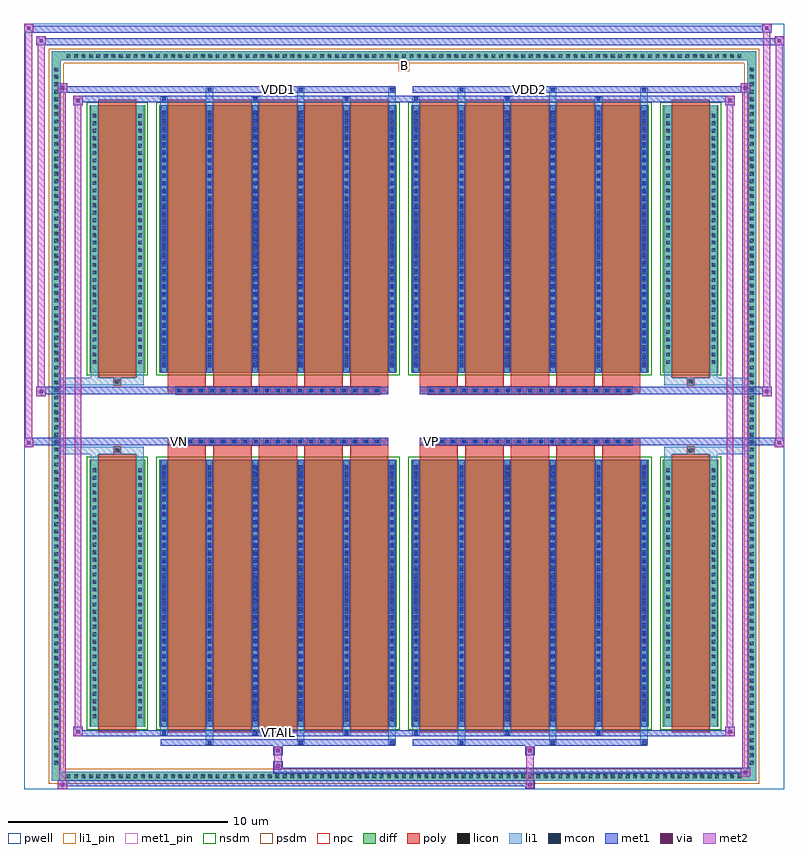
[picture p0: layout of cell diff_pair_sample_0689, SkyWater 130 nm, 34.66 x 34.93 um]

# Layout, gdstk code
import gdstk
lib = gdstk.Library(unit=1e-6, precision=5e-09)
def R(c, l, rs):  # rectangles x0, y0, x1, y1
    for r in rs: c.add(gdstk.rectangle(r[:2], r[2:], *l))
def A(c, l, x, y, w, h, nx, ny, dx, dy):  # array of equal rectangles
    R(c, l, [(x+i*dx, y+j*dy, x+i*dx+w, y+j*dy+h) for i in range(nx) for j in range(ny)])
def P(c, l, *ps):  # polygons
    for p in ps: c.add(gdstk.Polygon(p, *l))
pwell = (64, 44)
diff = (65, 20)
poly = (66, 20)
licon = (66, 44)
li1_pin = (67, 16)
li1 = (67, 20)
mcon = (67, 44)
met1_pin = (68, 16)
met1 = (68, 20)
via = (68, 44)
met2 = (69, 20)
nsdm = (93, 44)
psdm = (94, 20)
npc = (95, 20)

diff_pair_sample_0689 = lib.new_cell('diff_pair_sample_0689')
R(diff_pair_sample_0689, pwell, [(-17.33,-17.03,17.33,17.9), (-14.65,-15.22,-0.01,-0.8), (0.01,-15.22,14.65,-0.8), (-14.65,0.8,-0.01,15.22), (0.01,0.8,14.65,15.22)])
A(diff_pair_sample_0689, diff, -15.505, -16.63, 0.41, 0.41, 91, 2, 0.34, 32.85)
A(diff_pair_sample_0689, diff, -16.06, -16.015, 0.41, 0.41, 1, 94, 0, 0.34)
A(diff_pair_sample_0689, diff, 15.65, -16.015, 0.41, 0.41, 1, 94, 0, 0.34)
R(diff_pair_sample_0689, diff, [(-15.505,-16.63,15.505,-16.22), (-16.06,-16.015,-15.65,16.015), (15.65,-16.015,16.06,16.015), (-14.34,-14.175,-11.81,-1.985), (-11.17,-14.175,-0.32,-1.985), (0.32,-14.175,11.17,-1.985), (11.81,-14.175,14.34,-1.985), (-14.34,1.985,-11.81,14.175), (-11.17,1.985,-0.32,14.175), (0.32,1.985,11.17,14.175), (11.81,1.985,14.34,14.175), (-15.505,16.22,15.505,16.63)])
P(diff_pair_sample_0689, diff, [(16.06,16.63),(-16.06,16.63),(-16.06,-16.22),(-15.65,-16.22),(-15.65,16.22),(15.65,16.22),(15.65,-16.22),(-15.65,-16.22),(-16.06,-16.22),(-16.06,-16.63),(16.06,-16.63)])
A(diff_pair_sample_0689, poly, -10.78, -14.425, 1.75, 12.69, 5, 2, 2.08, 16.16)
A(diff_pair_sample_0689, poly, 0.71, -14.425, 1.75, 12.69, 5, 2, 2.08, 16.16)
A(diff_pair_sample_0689, poly, -10.78, -1.735, 1.75, 0.405, 5, 2, 2.08, 3.065)
A(diff_pair_sample_0689, poly, 0.71, -1.735, 1.75, 0.405, 5, 2, 2.08, 3.065)
A(diff_pair_sample_0689, poly, -10.41, -1.33, 0.33, 0.33, 19, 2, 0.5, 2.33)
A(diff_pair_sample_0689, poly, 1.08, -1.33, 0.33, 0.33, 19, 2, 0.5, 2.33)
R(diff_pair_sample_0689, poly, [(-13.95,-14.425,-12.2,-1.735), (12.2,-14.425,13.95,-1.735), (-13.24,-1.735,-12.91,-1.405), (-13.24,-1.735,-12.91,-1.405), (12.91,-1.735,13.24,-1.405), (12.91,-1.735,13.24,-1.405), (-10.78,-1.33,-0.71,-1), (0.71,-1.33,10.78,-1), (-10.78,1,-0.71,1.33), (0.71,1,10.78,1.33), (-13.24,1.405,-12.91,1.735), (-13.24,1.405,-12.91,1.735), (12.91,1.405,13.24,1.735), (12.91,1.405,13.24,1.735), (-13.95,1.735,-12.2,14.425), (12.2,1.735,13.95,14.425)])
A(diff_pair_sample_0689, licon, -15.385, -16.51, 0.17, 0.17, 91, 2, 0.34, 32.85)
A(diff_pair_sample_0689, licon, -15.94, -15.895, 0.17, 0.17, 1, 94, 0, 0.34)
A(diff_pair_sample_0689, licon, 15.77, -15.895, 0.17, 0.17, 1, 94, 0, 0.34)
A(diff_pair_sample_0689, licon, -14.2, -13.775, 0.17, 0.17, 1, 34, 0, 0.34)
A(diff_pair_sample_0689, licon, -12.12, -13.775, 0.17, 0.17, 1, 34, 0, 0.34)
A(diff_pair_sample_0689, licon, -11.03, -13.775, 0.17, 0.17, 6, 34, 2.08, 0.34)
A(diff_pair_sample_0689, licon, 0.46, -13.775, 0.17, 0.17, 6, 34, 2.08, 0.34)
A(diff_pair_sample_0689, licon, 11.95, -13.775, 0.17, 0.17, 1, 34, 0, 0.34)
A(diff_pair_sample_0689, licon, 14.03, -13.775, 0.17, 0.17, 1, 34, 0, 0.34)
A(diff_pair_sample_0689, licon, -10.33, -1.25, 0.17, 0.17, 19, 2, 0.5, 2.33)
A(diff_pair_sample_0689, licon, 1.16, -1.25, 0.17, 0.17, 19, 2, 0.5, 2.33)
A(diff_pair_sample_0689, licon, -14.2, 2.385, 0.17, 0.17, 1, 34, 0, 0.34)
A(diff_pair_sample_0689, licon, -12.12, 2.385, 0.17, 0.17, 1, 34, 0, 0.34)
A(diff_pair_sample_0689, licon, -11.03, 2.385, 0.17, 0.17, 6, 34, 2.08, 0.34)
A(diff_pair_sample_0689, licon, 0.46, 2.385, 0.17, 0.17, 6, 34, 2.08, 0.34)
A(diff_pair_sample_0689, licon, 11.95, 2.385, 0.17, 0.17, 1, 34, 0, 0.34)
A(diff_pair_sample_0689, licon, 14.03, 2.385, 0.17, 0.17, 1, 34, 0, 0.34)
R(diff_pair_sample_0689, licon, [(-13.16,-1.655,-12.99,-1.485), (12.99,-1.655,13.16,-1.485), (-13.16,1.485,-12.99,1.655), (12.99,1.485,13.16,1.655)])
R(diff_pair_sample_0689, li1_pin, [(-0.25,15.72,0.25,16.22)])
A(diff_pair_sample_0689, li1, -15.465, -16.59, 0.33, 0.33, 91, 2, 0.34, 32.85)
A(diff_pair_sample_0689, li1, -16.02, -15.975, 0.33, 0.33, 1, 94, 0, 0.34)
A(diff_pair_sample_0689, li1, 15.69, -15.975, 0.33, 0.33, 1, 94, 0, 0.34)
A(diff_pair_sample_0689, li1, -9.03, -14.98, 0.33, 0.805, 3, 2, 4.16, 29.155)
A(diff_pair_sample_0689, li1, -8.95, -14.98, 0.17, 0.17, 3, 2, 4.16, 29.79)
A(diff_pair_sample_0689, li1, 2.46, -14.98, 0.33, 0.805, 3, 2, 4.16, 29.155)
A(diff_pair_sample_0689, li1, 2.54, -14.98, 0.17, 0.17, 3, 2, 4.16, 29.79)
A(diff_pair_sample_0689, li1, -11.11, -14.55, 0.33, 0.375, 3, 2, 4.16, 28.725)
A(diff_pair_sample_0689, li1, -11.03, -14.55, 0.17, 0.17, 3, 2, 4.16, 28.93)
A(diff_pair_sample_0689, li1, 0.38, -14.55, 0.33, 0.375, 3, 2, 4.16, 28.725)
A(diff_pair_sample_0689, li1, 0.46, -14.55, 0.17, 0.17, 3, 2, 4.16, 28.93)
A(diff_pair_sample_0689, li1, -11.11, -14.175, 0.33, 12.19, 6, 2, 2.08, 16.16)
A(diff_pair_sample_0689, li1, 0.38, -14.175, 0.33, 12.19, 6, 2, 2.08, 16.16)
A(diff_pair_sample_0689, li1, -11.03, -13.925, 0.17, 0.17, 6, 33, 2.08, 0.36)
A(diff_pair_sample_0689, li1, -11.03, -13.925, 0.17, 11.69, 6, 2, 2.08, 16.16)
A(diff_pair_sample_0689, li1, 0.46, -13.925, 0.17, 0.17, 6, 33, 2.08, 0.36)
A(diff_pair_sample_0689, li1, 0.46, -13.925, 0.17, 11.69, 6, 2, 2.08, 16.16)
A(diff_pair_sample_0689, li1, -14.28, -13.855, 0.33, 0.33, 1, 34, 0, 0.34)
A(diff_pair_sample_0689, li1, -12.2, -13.855, 0.33, 0.33, 1, 34, 0, 0.34)
A(diff_pair_sample_0689, li1, -11.11, -13.855, 0.33, 0.33, 6, 34, 2.08, 0.34)
A(diff_pair_sample_0689, li1, 0.38, -13.855, 0.33, 0.33, 6, 34, 2.08, 0.34)
A(diff_pair_sample_0689, li1, 11.87, -13.855, 0.33, 0.33, 1, 34, 0, 0.34)
A(diff_pair_sample_0689, li1, 13.95, -13.855, 0.33, 0.33, 1, 34, 0, 0.34)
A(diff_pair_sample_0689, li1, -10.41, -1.33, 0.33, 0.33, 19, 2, 0.5, 2.33)
A(diff_pair_sample_0689, li1, 1.08, -1.33, 0.33, 0.33, 19, 2, 0.5, 2.33)
A(diff_pair_sample_0689, li1, -11.03, 2.235, 0.17, 0.17, 6, 33, 2.08, 0.36)
A(diff_pair_sample_0689, li1, 0.46, 2.235, 0.17, 0.17, 6, 33, 2.08, 0.36)
A(diff_pair_sample_0689, li1, -14.28, 2.305, 0.33, 0.33, 1, 34, 0, 0.34)
A(diff_pair_sample_0689, li1, -12.2, 2.305, 0.33, 0.33, 1, 34, 0, 0.34)
A(diff_pair_sample_0689, li1, -11.11, 2.305, 0.33, 0.33, 6, 34, 2.08, 0.34)
A(diff_pair_sample_0689, li1, 0.38, 2.305, 0.33, 0.33, 6, 34, 2.08, 0.34)
A(diff_pair_sample_0689, li1, 11.87, 2.305, 0.33, 0.33, 1, 34, 0, 0.34)
A(diff_pair_sample_0689, li1, 13.95, 2.305, 0.33, 0.33, 1, 34, 0, 0.34)
R(diff_pair_sample_0689, li1, [(-16.06,-16.63,-15.65,-16.22), (-16.06,-16.63,-15.65,-16.22), (-15.65,-16.63,15.65,-16.22), (15.65,-16.63,16.06,-16.22), (15.65,-16.63,16.06,-16.22), (-16.06,-16.22,-15.65,16.22), (15.65,-16.22,16.06,16.22), (-14.28,-14.175,-13.95,-1.985), (-12.2,-14.175,-11.87,-1.985), (11.87,-14.175,12.2,-1.985), (13.95,-14.175,14.28,-1.985), (-14.28,-1.985,-13.95,-1.405), (-12.2,-1.985,-11.87,-1.405), (11.87,-1.985,12.2,-1.405), (13.95,-1.985,14.28,-1.405), (-16.06,-1.735,-13.24,-1.405), (-14.28,-1.735,-13.24,-1.405), (-13.24,-1.735,-12.91,-1.405), (-12.91,-1.735,-11.87,-1.405), (11.87,-1.735,12.91,-1.405), (12.91,-1.735,13.24,-1.405), (12.91,-1.735,16.06,-1.405), (13.24,-1.735,14.28,-1.405), (-16.06,1.405,-13.24,1.735), (-14.28,1.405,-13.24,1.735), (-14.28,1.405,-13.95,1.985), (-13.24,1.405,-12.91,1.735), (-12.91,1.405,-11.87,1.735), (-12.2,1.405,-11.87,1.985), (11.87,1.405,12.91,1.735), (11.87,1.405,12.2,1.985), (12.91,1.405,13.24,1.735), (12.91,1.405,16.06,1.735), (13.24,1.405,14.28,1.735), (13.95,1.405,14.28,1.985), (-14.28,1.985,-13.95,14.175), (-12.2,1.985,-11.87,14.175), (11.87,1.985,12.2,14.175), (13.95,1.985,14.28,14.175), (-16.06,16.22,-15.65,16.63), (-16.06,16.22,-15.65,16.63), (-15.65,16.22,15.65,16.63), (15.65,16.22,16.06,16.63), (15.65,16.22,16.06,16.63)])
A(diff_pair_sample_0689, mcon, -8.95, -14.98, 0.17, 0.17, 3, 2, 4.16, 29.79)
A(diff_pair_sample_0689, mcon, 2.54, -14.98, 0.17, 0.17, 3, 2, 4.16, 29.79)
A(diff_pair_sample_0689, mcon, -11.03, -14.55, 0.17, 0.17, 3, 2, 4.16, 28.93)
A(diff_pair_sample_0689, mcon, 0.46, -14.55, 0.17, 0.17, 3, 2, 4.16, 28.93)
A(diff_pair_sample_0689, mcon, -11.03, -13.925, 0.17, 0.17, 6, 33, 2.08, 0.36)
A(diff_pair_sample_0689, mcon, 0.46, -13.925, 0.17, 0.17, 6, 33, 2.08, 0.36)
A(diff_pair_sample_0689, mcon, -10.33, -1.25, 0.17, 0.17, 19, 2, 0.5, 2.33)
A(diff_pair_sample_0689, mcon, 1.16, -1.25, 0.17, 0.17, 19, 2, 0.5, 2.33)
A(diff_pair_sample_0689, mcon, -11.03, 2.235, 0.17, 0.17, 6, 33, 2.08, 0.36)
A(diff_pair_sample_0689, mcon, 0.46, 2.235, 0.17, 0.17, 6, 33, 2.08, 0.36)
R(diff_pair_sample_0689, met1_pin, [(-5.88,-14.59,-5.61,-14.32), (-10.38,-1.29,-10.11,-1.02), (1.11,-1.29,1.38,-1.02), (-5.88,14.77,-5.61,15.04), (5.61,14.77,5.88,15.04)])
A(diff_pair_sample_0689, met1, -9.01, -15.04, 0.29, 0.29, 3, 2, 4.16, 29.79)
A(diff_pair_sample_0689, met1, 2.48, -15.04, 0.29, 0.29, 3, 2, 4.16, 29.79)
A(diff_pair_sample_0689, met1, -11.09, -14.61, 0.29, 0.29, 3, 2, 4.16, 28.93)
A(diff_pair_sample_0689, met1, 0.4, -14.61, 0.29, 0.29, 3, 2, 4.16, 28.93)
A(diff_pair_sample_0689, met1, -11.09, -14.175, 0.29, 12.19, 6, 2, 2.08, 16.16)
A(diff_pair_sample_0689, met1, 0.4, -14.175, 0.29, 12.19, 6, 2, 2.08, 16.16)
A(diff_pair_sample_0689, met1, -11.09, -13.985, 0.29, 0.29, 6, 33, 2.08, 0.36)
A(diff_pair_sample_0689, met1, 0.4, -13.985, 0.29, 0.29, 6, 33, 2.08, 0.36)
A(diff_pair_sample_0689, met1, -10.39, -1.31, 0.29, 0.29, 19, 2, 0.5, 2.33)
A(diff_pair_sample_0689, met1, 1.1, -1.31, 0.29, 0.29, 19, 2, 0.5, 2.33)
A(diff_pair_sample_0689, met1, -11.09, 2.175, 0.29, 0.29, 6, 33, 2.08, 0.36)
A(diff_pair_sample_0689, met1, 0.4, 2.175, 0.29, 0.29, 6, 33, 2.08, 0.36)
R(diff_pair_sample_0689, met1, [(-15.79,-17.03,-15.36,-16.6), (5.53,-17.03,5.96,-16.6), (-15.79,-16.89,5.96,-16.6), (15.36,-16.46,15.79,-16.03), (-5.96,-16.32,15.79,-16.03), (-5.96,-16.18,-5.53,-15.75), (-5.96,-15.47,-5.53,-15.04), (5.53,-15.47,5.96,-15.04), (-11.09,-15.04,-0.4,-14.75), (0.4,-15.04,11.09,-14.75), (-15.08,-14.61,-14.65,-14.18), (-15.08,-14.61,-11.09,-14.32), (-11.09,-14.61,-0.4,-14.32), (-0.4,-14.61,0.4,-14.32), (0.4,-14.61,11.09,-14.32), (11.09,-14.61,15.08,-14.32), (14.65,-14.61,15.08,-14.18), (-17.33,-1.43,-16.9,-1), (16.9,-1.43,17.33,-1), (-17.33,-1.33,-0.71,-1), (-10.78,-1.33,-0.71,-1), (0.71,-1.33,10.78,-1), (0.71,-1.33,17.33,-1), (-16.76,0.9,-16.33,1.33), (16.33,0.9,16.76,1.33), (-16.76,1,-10.78,1.33), (-10.78,1,-0.71,1.33), (0.71,1,10.78,1.33), (10.78,1,16.76,1.33), (-15.08,14.18,-14.65,14.61), (14.65,14.18,15.08,14.61), (-15.08,14.32,-11.09,14.61), (-11.09,14.32,-0.4,14.61), (-0.4,14.32,0.4,14.61), (0.4,14.32,11.09,14.61), (11.09,14.32,15.08,14.61), (-15.79,14.75,-15.36,15.18), (-15.79,14.75,-11.09,15.04), (-11.09,14.75,-0.4,15.04), (0.4,14.75,11.09,15.04), (11.09,14.75,15.79,15.04), (15.36,14.75,15.79,15.18), (-16.76,16.9,-16.33,17.33), (-16.76,16.9,-14.65,17.23), (-14.65,16.9,14.65,17.23), (14.65,16.9,17.33,17.23), (16.9,16.9,17.33,17.33), (-17.33,17.47,-16.9,17.9), (-17.33,17.47,-14.65,17.8), (-14.65,17.47,14.65,17.8), (14.65,17.47,16.76,17.8), (16.33,17.47,16.76,17.9)])
R(diff_pair_sample_0689, via, [(-15.65,-16.89,-15.5,-16.74), (5.67,-16.89,5.82,-16.74), (15.5,-16.32,15.65,-16.17), (-5.82,-16.04,-5.67,-15.89), (-5.82,-15.33,-5.67,-15.18), (5.67,-15.33,5.82,-15.18), (-14.94,-14.47,-14.79,-14.32), (14.79,-14.47,14.94,-14.32), (-17.19,-1.29,-17.04,-1.14), (17.04,-1.29,17.19,-1.14), (-16.62,1.04,-16.47,1.19), (16.47,1.04,16.62,1.19), (-14.94,14.32,-14.79,14.47), (14.79,14.32,14.94,14.47), (-15.65,14.89,-15.5,15.04), (15.5,14.89,15.65,15.04), (-16.62,17.04,-16.47,17.19), (17.04,17.04,17.19,17.19), (-17.19,17.61,-17.04,17.76), (16.47,17.61,16.62,17.76)])
R(diff_pair_sample_0689, met2, [(-15.79,-17.03,-15.36,-16.6), (-15.72,-17.03,-15.43,15.18), (-15.43,-17.03,-15.36,-16.6), (-15.74,-16.98,-15.41,-16.65), (5.58,-16.98,5.91,-16.65), (5.58,-16.65,5.91,-15.42), (15.36,-16.46,15.79,-16.03), (15.43,-16.46,15.72,15.18), (15.72,-16.46,15.79,-16.03), (15.41,-16.41,15.74,-16.08), (-5.91,-16.13,-5.58,-15.8), (-5.91,-15.8,-5.58,-15.42), (-5.91,-15.42,-5.58,-15.09), (5.58,-15.42,5.91,-15.09), (-15.08,-14.61,-14.65,-14.18), (-15.01,-14.61,-14.72,14.61), (-14.72,-14.61,-14.65,-14.18), (14.65,-14.61,15.08,-14.18), (14.72,-14.61,15.01,14.61), (15.01,-14.61,15.08,-14.18), (-15.03,-14.56,-14.7,-14.23), (14.7,-14.56,15.03,-14.23), (-17.33,-1.43,-16.9,-1), (-17.28,-1.43,-16.95,17.9), (-16.95,-1.43,-16.9,-1), (16.9,-1.43,17.33,-1), (16.95,-1.43,17.28,17.33), (17.28,-1.43,17.33,-1), (-17.28,-1.38,-16.95,-1.05), (16.95,-1.38,17.28,-1.05), (-16.76,0.9,-16.33,1.33), (-16.71,0.9,-16.38,17.33), (-16.38,0.9,-16.33,1.33), (16.33,0.9,16.76,1.33), (16.38,0.9,16.71,17.9), (16.71,0.9,16.76,1.33), (-16.71,0.95,-16.38,1.28), (16.38,0.95,16.71,1.28), (-15.08,14.18,-14.65,14.61), (-14.72,14.18,-14.65,14.61), (14.65,14.18,15.08,14.61), (15.01,14.18,15.08,14.61), (-15.03,14.23,-14.7,14.56), (14.7,14.23,15.03,14.56), (-15.79,14.75,-15.36,15.18), (-15.43,14.75,-15.36,15.18), (15.36,14.75,15.79,15.18), (15.72,14.75,15.79,15.18), (-15.74,14.8,-15.41,15.13), (15.41,14.8,15.74,15.13), (-16.76,16.9,-16.33,17.33), (-16.38,16.9,-16.33,17.33), (16.9,16.9,17.33,17.33), (17.28,16.9,17.33,17.33), (-16.71,16.95,-16.38,17.28), (16.95,16.95,17.28,17.28), (-17.33,17.47,-16.9,17.9), (-16.95,17.47,-16.9,17.9), (16.33,17.47,16.76,17.9), (16.71,17.47,16.76,17.9), (-17.28,17.52,-16.95,17.85), (16.38,17.52,16.71,17.85)])
R(diff_pair_sample_0689, nsdm, [(-14.47,-14.305,-11.68,-1.855), (-11.3,-14.305,-0.19,-1.855), (0.19,-14.305,11.3,-1.855), (11.68,-14.305,14.47,-1.855), (-14.47,1.855,-11.68,14.305), (-11.3,1.855,-0.19,14.305), (0.19,1.855,11.3,14.305), (11.68,1.855,14.47,14.305)])
P(diff_pair_sample_0689, psdm, [(16.19,16.76),(-16.19,16.76),(-16.19,-16.09),(-15.52,-16.09),(-15.52,16.09),(15.52,16.09),(15.52,-16.09),(-15.52,-16.09),(-16.19,-16.09),(-16.19,-16.76),(16.19,-16.76)])
A(diff_pair_sample_0689, npc, -10.43, -1.35, 0.37, 0.37, 19, 2, 0.5, 2.33)
A(diff_pair_sample_0689, npc, 1.06, -1.35, 0.37, 0.37, 19, 2, 0.5, 2.33)
R(diff_pair_sample_0689, npc, [(-13.26,-1.755,-12.89,-1.385), (12.89,-1.755,13.26,-1.385), (-10.43,-1.35,-9.56,-0.98), (-10.43,-1.35,-9.56,-0.98), (-9.93,-1.35,-9.06,-0.98), (-9.93,-1.35,-9.06,-0.98), (-9.43,-1.35,-8.56,-0.98), (-9.43,-1.35,-8.56,-0.98), (-8.93,-1.35,-8.06,-0.98), (-8.93,-1.35,-8.06,-0.98), (-8.43,-1.35,-7.56,-0.98), (-8.43,-1.35,-7.56,-0.98), (-7.93,-1.35,-7.06,-0.98), (-7.93,-1.35,-7.06,-0.98), (-7.43,-1.35,-6.56,-0.98), (-7.43,-1.35,-6.56,-0.98), (-6.93,-1.35,-6.06,-0.98), (-6.93,-1.35,-6.06,-0.98), (-6.43,-1.35,-5.56,-0.98), (-6.43,-1.35,-5.56,-0.98), (-5.93,-1.35,-5.06,-0.98), (-5.93,-1.35,-5.06,-0.98), (-5.43,-1.35,-4.56,-0.98), (-5.43,-1.35,-4.56,-0.98), (-4.93,-1.35,-4.06,-0.98), (-4.93,-1.35,-4.06,-0.98), (-4.43,-1.35,-3.56,-0.98), (-4.43,-1.35,-3.56,-0.98), (-3.93,-1.35,-3.06,-0.98), (-3.93,-1.35,-3.06,-0.98), (-3.43,-1.35,-2.56,-0.98), (-3.43,-1.35,-2.56,-0.98), (-2.93,-1.35,-2.06,-0.98), (-2.93,-1.35,-2.06,-0.98), (-2.43,-1.35,-1.56,-0.98), (-2.43,-1.35,-1.56,-0.98), (-1.93,-1.35,-1.06,-0.98), (-1.93,-1.35,-1.06,-0.98), (1.06,-1.35,1.93,-0.98), (1.06,-1.35,1.93,-0.98), (1.56,-1.35,2.43,-0.98), (1.56,-1.35,2.43,-0.98), (2.06,-1.35,2.93,-0.98), (2.06,-1.35,2.93,-0.98), (2.56,-1.35,3.43,-0.98), (2.56,-1.35,3.43,-0.98), (3.06,-1.35,3.93,-0.98), (3.06,-1.35,3.93,-0.98), (3.56,-1.35,4.43,-0.98), (3.56,-1.35,4.43,-0.98), (4.06,-1.35,4.93,-0.98), (4.06,-1.35,4.93,-0.98), (4.56,-1.35,5.43,-0.98), (4.56,-1.35,5.43,-0.98), (5.06,-1.35,5.93,-0.98), (5.06,-1.35,5.93,-0.98), (5.56,-1.35,6.43,-0.98), (5.56,-1.35,6.43,-0.98), (6.06,-1.35,6.93,-0.98), (6.06,-1.35,6.93,-0.98), (6.56,-1.35,7.43,-0.98), (6.56,-1.35,7.43,-0.98), (7.06,-1.35,7.93,-0.98), (7.06,-1.35,7.93,-0.98), (7.56,-1.35,8.43,-0.98), (7.56,-1.35,8.43,-0.98), (8.06,-1.35,8.93,-0.98), (8.06,-1.35,8.93,-0.98), (8.56,-1.35,9.43,-0.98), (8.56,-1.35,9.43,-0.98), (9.06,-1.35,9.93,-0.98), (9.06,-1.35,9.93,-0.98), (9.56,-1.35,10.43,-0.98), (9.56,-1.35,10.43,-0.98), (-10.43,0.98,-9.56,1.35), (-10.43,0.98,-9.56,1.35), (-9.93,0.98,-9.06,1.35), (-9.93,0.98,-9.06,1.35), (-9.43,0.98,-8.56,1.35), (-9.43,0.98,-8.56,1.35), (-8.93,0.98,-8.06,1.35), (-8.93,0.98,-8.06,1.35), (-8.43,0.98,-7.56,1.35), (-8.43,0.98,-7.56,1.35), (-7.93,0.98,-7.06,1.35), (-7.93,0.98,-7.06,1.35), (-7.43,0.98,-6.56,1.35), (-7.43,0.98,-6.56,1.35), (-6.93,0.98,-6.06,1.35), (-6.93,0.98,-6.06,1.35), (-6.43,0.98,-5.56,1.35), (-6.43,0.98,-5.56,1.35), (-5.93,0.98,-5.06,1.35), (-5.93,0.98,-5.06,1.35), (-5.43,0.98,-4.56,1.35), (-5.43,0.98,-4.56,1.35), (-4.93,0.98,-4.06,1.35), (-4.93,0.98,-4.06,1.35), (-4.43,0.98,-3.56,1.35), (-4.43,0.98,-3.56,1.35), (-3.93,0.98,-3.06,1.35), (-3.93,0.98,-3.06,1.35), (-3.43,0.98,-2.56,1.35), (-3.43,0.98,-2.56,1.35), (-2.93,0.98,-2.06,1.35), (-2.93,0.98,-2.06,1.35), (-2.43,0.98,-1.56,1.35), (-2.43,0.98,-1.56,1.35), (-1.93,0.98,-1.06,1.35), (-1.93,0.98,-1.06,1.35), (1.06,0.98,1.93,1.35), (1.06,0.98,1.93,1.35), (1.56,0.98,2.43,1.35), (1.56,0.98,2.43,1.35), (2.06,0.98,2.93,1.35), (2.06,0.98,2.93,1.35), (2.56,0.98,3.43,1.35), (2.56,0.98,3.43,1.35), (3.06,0.98,3.93,1.35), (3.06,0.98,3.93,1.35), (3.56,0.98,4.43,1.35), (3.56,0.98,4.43,1.35), (4.06,0.98,4.93,1.35), (4.06,0.98,4.93,1.35), (4.56,0.98,5.43,1.35), (4.56,0.98,5.43,1.35), (5.06,0.98,5.93,1.35), (5.06,0.98,5.93,1.35), (5.56,0.98,6.43,1.35), (5.56,0.98,6.43,1.35), (6.06,0.98,6.93,1.35), (6.06,0.98,6.93,1.35), (6.56,0.98,7.43,1.35), (6.56,0.98,7.43,1.35), (7.06,0.98,7.93,1.35), (7.06,0.98,7.93,1.35), (7.56,0.98,8.43,1.35), (7.56,0.98,8.43,1.35), (8.06,0.98,8.93,1.35), (8.06,0.98,8.93,1.35), (8.56,0.98,9.43,1.35), (8.56,0.98,9.43,1.35), (9.06,0.98,9.93,1.35), (9.06,0.98,9.93,1.35), (9.56,0.98,10.43,1.35), (9.56,0.98,10.43,1.35), (-13.26,1.385,-12.89,1.755), (12.89,1.385,13.26,1.755)])
diff_pair_sample_0689.add(gdstk.Label('VTAIL', (-5.745,-14.455), layer=68, texttype=5))
diff_pair_sample_0689.add(gdstk.Label('VN', (-10.245,-1.155), layer=68, texttype=5))
diff_pair_sample_0689.add(gdstk.Label('VP', (1.245,-1.155), layer=68, texttype=5))
diff_pair_sample_0689.add(gdstk.Label('B', (0,15.97), layer=67, texttype=5))
diff_pair_sample_0689.add(gdstk.Label('VDD2', (5.745,14.905), layer=68, texttype=5))
diff_pair_sample_0689.add(gdstk.Label('VDD1', (-5.745,14.905), layer=68, texttype=5))

lib.write_gds('diff_pair_sample_0689.gds')
